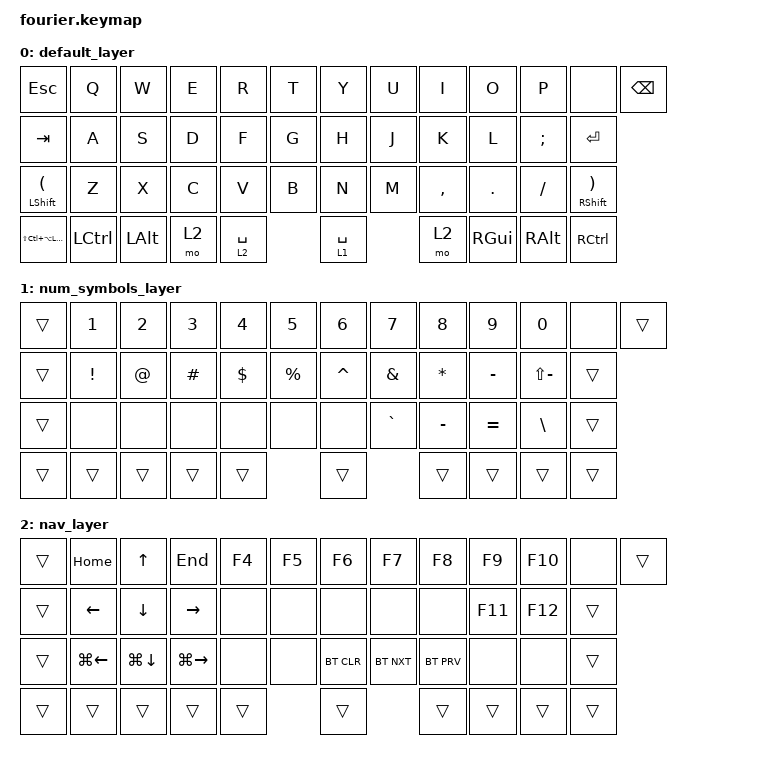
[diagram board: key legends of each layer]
/*
 * Copyright (c) 2021 The ZMK Contributors
 *
 * SPDX-License-Identifier: MIT
 */

#include <behaviors.dtsi>
#include <dt-bindings/zmk/bt.h>
#include <dt-bindings/zmk/keys.h>

/ {
    keymap {
        compatible = "zmk,keymap";

        // -------------------------------------------------------------------------        ---------------------------------------------------------------
        // |    ESC             |  Q        |  W      |  E      | R          |  T  |        |  Y           |  U   | I       |  O     |  P     |    BKSP   |
        // |    TAB             |  A        |  S      |  D      | F          |  G  |        |  H           |  J   | K       |  L     |  ;:    |    ENTER  |
        // |    SHIFT           |  Z        |  X      |  C      | V          |  B  |        |  N           |  M   | ,<      |  .>    |  /?    |    RSHFT  |
        // |    HYPER           |  LCTRL    | LALT    | LGUI    | SPACE/L1   |              | SPACE/L1     | L2   | RGUI    |  RALT  |  RCTRL |
        // -------------------------------------------------------------------------        ----------------------------------------------------------------

        default_layer {
            bindings = <
&kp ESC                     &kp Q      &kp W     &kp E  &kp R        &kp T    &kp Y        &kp U  &kp I      &kp O     &kp P     &none                        &kp BACKSPACE
&kp TAB                     &kp A      &kp S     &kp D  &kp F        &kp G    &kp H        &kp J  &kp K      &kp L     &kp SEMI  &kp ENTER
&mt LSHFT LEFT_PARENTHESIS  &kp Z      &kp X     &kp C  &kp V        &kp B    &kp N        &kp M  &kp COMMA  &kp DOT   &kp FSLH  &mt RSHFT RIGHT_PARENTHESIS
&kp LS(LC(LA(LGUI)))        &kp LCTRL  &kp LALT  &mo 2  &lt 2 SPACE           &lt 1 SPACE         &mo 2      &kp RGUI  &kp RALT  &kp RCTRL
            >;
        };

        // -------------------------------------------------------------                    ---------------------------------------------------------------------
        // | trans   |  1      |  2       |  3        |  4      |  5   |                    |  6       |  7       |  8       |  9       |  O          |  trans   |
        // | trans   |  <-     |  v       |  ^        |  ->     |      |                    |          |  '"      |  {[      |  ]}      |  trans      |  trans   |
        // | trans   |         |          |           |         |      |                    |          |  `~      |  -_      |  =+      |  \|         |  trans   |
        // | trans   |  trans  |  trans   | trans     | trans   |                           | trans    | trans    | trans    | trans    |trans        |
        // -------------------------------------------------------------                    ----------------------------------------------------------------------

        num_symbols_layer {
            bindings = <
&trans  &kp N1    &kp N2       &kp N3    &kp N4      &kp N5         &kp N6     &kp N7     &kp N8     &kp N9     &kp N0         &none   &trans
&trans  &kp EXCL  &kp AT_SIGN  &kp HASH  &kp DOLLAR  &kp PERCENT    &kp CARET  &kp AMPS   &kp ASTRK  &kp MINUS  &kp LS(MINUS)  &trans
&trans  &none     &none        &none     &none       &none          &none      &kp GRAVE  &kp MINUS  &kp EQUAL  &kp BACKSLASH  &trans
&trans  &trans    &trans       &trans    &trans                     &trans                &trans     &trans     &trans         &trans
            >;
        };

        // ------------------------------------------------------------                       -----------------------------------------------------
        // | trans  | F1        | F2       |  F3       |  F4    | F5  |                       |  F6     |  F7     |  F8    | F9     | F1O      | trans  |
        // | trans  |           |          |           |        |     |                       |         |         |        | F11    | F12      | trans  |
        // | trans  | BT_CLR    | BT_NXT   |           |        |     |                       |         |         |        |        | trans    |
        // | trans  | trans     | trans    | trans     | trans  |                             | trans   | trans   | trans  | trans  | trans    |
        // ------------------------------------------------------------                       ------------------------------------------------------

        nav_layer {
            bindings = <
&trans  &kp HOME            &kp UP_ARROW        &kp END              &kp F4  &kp F5    &kp F6      &kp F7      &kp F8      &kp F9   &kp F10  &none   &trans
&trans  &kp LEFT_ARROW      &kp DOWN_ARROW      &kp RIGHT_ARROW      &none   &none     &none       &none       &none       &kp F11  &kp F12  &trans
&trans  &kp LG(LEFT_ARROW)  &kp LG(DOWN_ARROW)  &kp LG(RIGHT_ARROW)  &none   &none     &bt BT_CLR  &bt BT_NXT  &bt BT_PRV  &none    &none    &trans
&trans  &trans              &trans              &trans               &trans            &trans                  &trans      &trans   &trans   &trans
            >;
        };
    };
};
